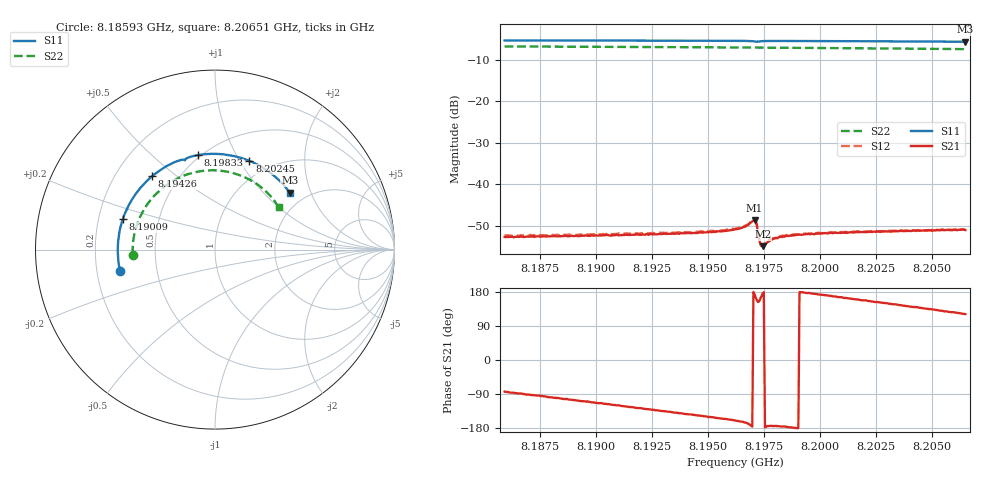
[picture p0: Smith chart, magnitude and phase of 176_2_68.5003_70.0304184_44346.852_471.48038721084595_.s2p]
#  HZ  S  RI  R  50.00
! Rohde & Schwarz Vector Network Analyzer
! Rohde-Schwarz,ZNB20-2Port,1311601062101988,3.16
! Created: UTC 3/20/2024, 4:56:24 PM
! freq[Hz]  re:S11  im:S11  re:S21  im:S21  re:S12  im:S12  re:S22  im:S22
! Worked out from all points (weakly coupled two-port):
!   401 points, 8.18593 GHz to 8.20651 GHz, reference 50 ohm
!   highest |S21| = -48.67 dB at 8.19709 GHz (marker M1); lowest = -54.9 dB at 8.19746 GHz (marker M2)
!   lowest |S11| = -5.6 dB at 8.20651 GHz (marker M3), VSWR 3.20, Z = 82.1 + j71.9 ohm
!   |S11| at or under -10 dB: nowhere
!   |S22| runs from -7.4 to -6.8 dB; largest |S21 - S12| = 0.0002
!   S11 on the Smith chart (normalised r, x): 8.18593 GHz: 0.30, -0.10; 8.19009 GHz: 0.30, +0.15; 8.19426 GHz: 0.36, +0.41; 8.19833 GHz: 0.48, +0.71; 8.20245 GHz: 0.80, +1.10; 8.20651 GHz: 1.64, +1.44
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8.185926e9  -0.5299 -0.1165  0.000269 -0.0023  0.000218 -0.00243  -0.4588 -0.0276
8.187624e9  -0.5421 0.00148  -0.000211 -0.00233  -0.000316 -0.00242  -0.4529 0.0663
8.189374e9  -0.5271 0.1228  -0.000772 -0.00225  -0.000865 -0.00228  -0.4269 0.1597
8.190095e9  -0.5132 0.1713  -0.000971 -0.0022  -0.00105 -0.00225  -0.4107 0.196
8.192823e9  -0.4206 0.3379  -0.00172 -0.00182  -0.00183 -0.00183  -0.3211 0.3175
8.194264e9  -0.3493 0.4099  -0.00207 -0.00152  -0.00219 -0.00146  -0.2587 0.3679
8.19622e9  -0.2323 0.4836  -0.00269 -0.000994  -0.00274 -0.000918  -0.1608 0.4167
8.196632e9  -0.2044 0.4951  -0.00295 -0.000803  -0.00303 -0.000725  -0.139 0.4238
8.196992e9  -0.177 0.5014  -0.00356 -0.000249  -0.00363 -7.14e-05  -0.1193 0.429
8.197095e9  -0.1694 0.4996  -0.00366 0.000454  -0.00375 0.000594  -0.1136 0.4303
8.197146e9  -0.1673 0.4979  -0.00344 0.000946  -0.00345 0.00109  -0.1109 0.4308
8.197198e9  -0.1669 0.497  -0.00294 0.00123  -0.00293 0.0014  -0.1081 0.4314
8.197352e9  -0.164 0.5042  -0.00179 0.00059  -0.00179 0.000686  -0.0997 0.4335
8.197404e9  -0.1608 0.5069  -0.00176 0.000357  -0.00178 0.000413  -0.0971 0.4338
8.197455e9  -0.1571 0.5091  -0.00178 0.000149  -0.00181 0.000231  -0.0941 0.4344
8.197867e9  -0.1271 0.5197  -0.00213 -0.000217  -0.00217 -0.000144  -0.0712 0.4382
8.19833e9  -0.0941 0.5266  -0.00231 -0.000172  -0.0024 -0.000103  -0.045 0.4408
8.199668e9  0.000631 0.5335  -0.00252 0.000213  -0.00253 0.000314  0.0307 0.4396
8.202448e9  0.1922 0.494  -0.0024 0.00121  -0.00239 0.00128  0.1821 0.3954
8.203117e9  0.2351 0.474  -0.0023 0.0014  -0.00226 0.00154  0.2156 0.3766
8.204712e9  0.329 0.4114  -0.00197 0.00193  -0.00192 0.00202  0.2884 0.3196
8.206514e9  0.4161 0.3181  -0.00145 0.0024  -0.00138 0.00246  0.3544 0.2377
